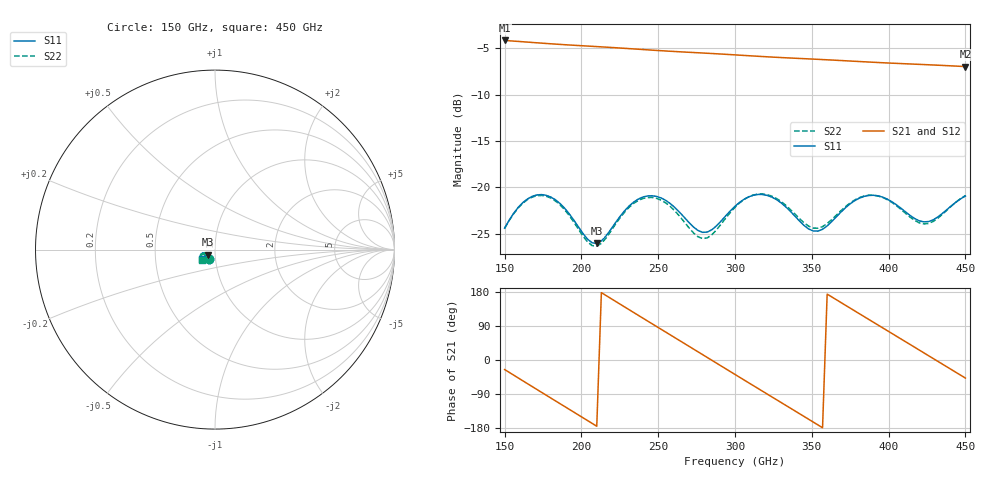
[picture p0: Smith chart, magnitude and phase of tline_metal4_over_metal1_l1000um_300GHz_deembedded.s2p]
! Created with skrf 2.2.0 (http://scikit-rf.org).
# GHz S DB R 50.0
! Port[1] = P1
! Port[2] = P2
!freq dBS11 angS11 dBS21 angS21 dBS12 angS12 dBS22 angS22
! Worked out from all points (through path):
!   101 points, 150 GHz to 450 GHz, reference 50 ohm
!   highest |S21| = -4.18 dB at 150 GHz (marker M1); lowest = -7.0 dB at 450 GHz (marker M2)
!   group delay of S21, straight-line fit = 6.87 ps
!   lowest |S11| = -26.0 dB at 210 GHz (marker M3), VSWR 1.11, Z = 46 - j2.63 ohm
!   |S11| at or under -10 dB: start of sweep to end of sweep
!   |S22| runs from -26.3 to -20.7 dB; largest |S21 - S12| = 6.5e-14
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150  -24.38 -121.6  -4.18 -25.1  -4.18 -25.1  -24.40 -122.6
162  -21.61 -129.1  -4.32 -55.2  -4.32 -55.2  -21.67 -130.0
174  -20.77 -144.3  -4.47 -85.2  -4.47 -85.2  -20.86 -145.2
186  -21.72 -158.3  -4.60 -115.1  -4.60 -115.1  -21.86 -159.3
201  -24.95 -160.3  -4.75 -152.4  -4.75 -152.4  -25.22 -161.1
210  -26.03 -145.2  -4.84 -174.8  -4.84 -174.8  -26.32 -145.1
222  -23.84 -130.8  -4.96 155.3  -4.96 155.3  -24.01 -130.4
234  -21.58 -136.1  -5.09 125.4  -5.09 125.4  -21.72 -136.2
252  -21.14 -154.3  -5.28 80.8  -5.28 80.8  -21.38 -155.0
276  -24.64 -155.1  -5.50 21.4  -5.50 21.4  -25.32 -153.9
288  -24.12 -139.6  -5.61 -8.4  -5.61 -8.4  -24.56 -135.6
300  -22.02 -137.8  -5.73 -38.1  -5.73 -38.1  -22.13 -134.0
312  -20.83 -146.6  -5.85 -67.8  -5.85 -67.8  -20.81 -143.4
324  -21.04 -157.6  -5.97 -97.3  -5.97 -97.3  -20.94 -154.7
336  -22.56 -163.9  -6.07 -126.9  -6.07 -126.9  -22.37 -161.4
351  -24.69 -153.4  -6.19 -163.9  -6.19 -163.9  -24.37 -152.1
366  -23.16 -138.4  -6.31 159.0  -6.31 159.0  -22.98 -138.4
381  -21.15 -143.5  -6.45 122.1  -6.45 122.1  -21.09 -143.5
402  -21.52 -158.5  -6.62 70.4  -6.62 70.4  -21.59 -158.4
426  -23.67 -148.3  -6.80 11.4  -6.80 11.4  -23.87 -146.4
438  -22.38 -140.7  -6.89 -18.2  -6.89 -18.2  -22.44 -138.1
450  -20.92 -143.9  -6.99 -47.7  -6.99 -47.7  -20.87 -141.3
